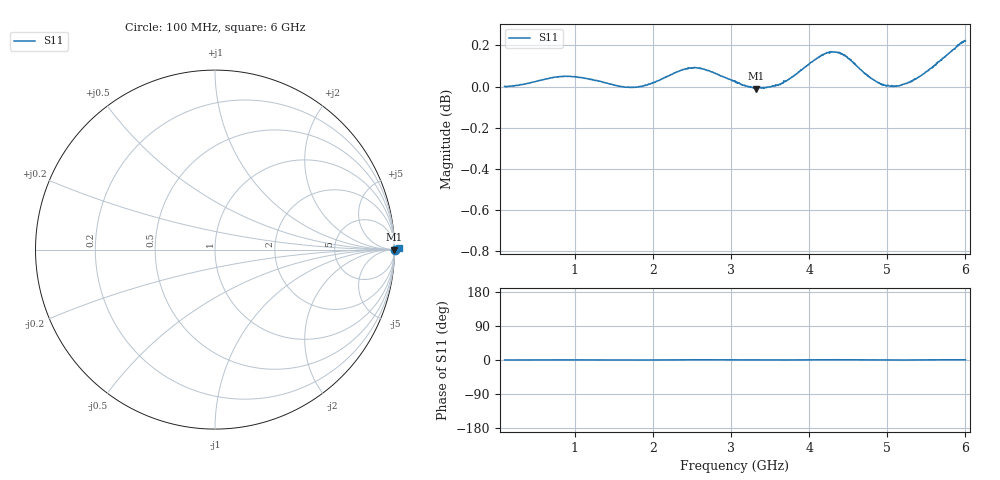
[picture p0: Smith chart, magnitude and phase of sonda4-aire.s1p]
! COPPER MOUNTAIN TECHNOLOGIES, R60, 23103002, 24.3.3/3.0
! Date: 24/6/2026 15:45:38
! Data: Format [Calibration Info]
! Frequency		S11: Mag/Ang F1
# HZ S MA R 50
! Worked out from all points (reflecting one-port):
!   1181 points, 100 MHz to 6 GHz, reference 50 ohm
!   lowest |S11| = 0.0 dB at 3.325 GHz (marker M1)
!   phase of S11 starts at 0 deg and turns +1 deg over the sweep
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1e8  1 0.0
3.35e8  1.001 0.1
8.4e8  1.006 0.4
1.065e9  1.005 0.3
1.575e9  1 -0.0
1.74e9  0.9996 -0.1
1.875e9  1 -0.1
2.315e9  1.008 0.4
2.525e9  1.01 0.6
2.68e9  1.009 0.7
2.76e9  1.008 0.6
3.05e9  1.003 0.2
3.325e9  0.9989 -0.0
3.51e9  0.9999 -0.0
3.61e9  1.001 0.0
3.79e9  1.006 0.3
4.045e9  1.014 0.5
4.225e9  1.019 0.6
4.375e9  1.019 0.7
4.525e9  1.015 0.6
4.77e9  1.005 0.2
4.93e9  1.001 -0.0
5.095e9  1 -0.1
5.265e9  1.002 0.0
5.39e9  1.005 0.2
5.59e9  1.012 0.5
5.93e9  1.024 0.6
6e9  1.026 0.6
